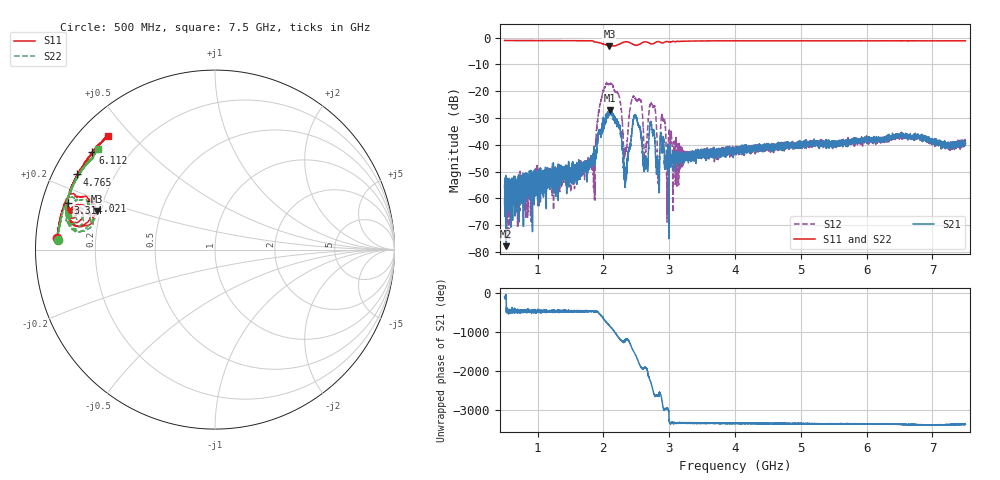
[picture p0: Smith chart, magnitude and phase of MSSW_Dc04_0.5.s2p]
!Keysight Technologies,M9374A,MY55442783,A.12.55.05
!Date: Wednesday, May 19, 2021 16:40:44
!Correction: S11(Full 2 Port(1,2))
!S21(Full 2 Port(1,2))
!S12(Full 2 Port(1,2))
!S22(Full 2 Port(1,2))
!S2P File: Measurements: S11, S21, S12, S22:
# Hz S  RI  R 50
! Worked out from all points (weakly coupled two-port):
!   7001 points, 500 MHz to 7.5 GHz, reference 50 ohm
!   highest |S21| = -27.00 dB at 2.1 GHz (marker M1); lowest = -77.8 dB at 526 MHz (marker M2)
!   lowest |S11| = -3.2 dB at 2.092 GHz (marker M3), VSWR 5.46, Z = 9.38 + j7.68 ohm
!   |S11| at or under -10 dB: nowhere
!   |S22| runs from -3.3 to -1.1 dB; largest |S21 - S12| = 0.11
!   S11 on the Smith chart (normalised r, x): 500 MHz: 0.06, +0.04; 2.021 GHz: 0.15, +0.18; 3.314 GHz: 0.08, +0.15; 4.765 GHz: 0.07, +0.25; 6.112 GHz: 0.08, +0.35; 7.5 GHz: 0.08, +0.43
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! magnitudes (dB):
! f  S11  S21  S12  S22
! 500 MHz  -1.1  -55.9  -60.3  -1.1
! 526 MHz  -1.1  -77.8  -65.0  -1.1
! 1.667 GHz  -1.1  -48.9  -46.3  -1.2
! 1.845 GHz  -1.3  -44.4  -49.5  -1.3
! 2.021 GHz  -2.6  -30.6  -18.4  -2.7
! 2.092 GHz  -3.2  -29.0  -17.4  -3.2
! 2.1 GHz  -3.2  -27.0  -17.3  -3.3
! 2.241 GHz  -2.5  -32.5  -22.0  -2.5
! 2.331 GHz  -1.6  -52.0  -41.1  -1.6
! 2.466 GHz  -2.6  -29.5  -21.9  -2.7
! 2.639 GHz  -1.6  -49.0  -44.1  -1.6
! 2.76 GHz  -2.3  -34.9  -25.9  -2.3
! 2.834 GHz  -1.5  -48.2  -53.8  -1.5
! 2.907 GHz  -1.9  -37.2  -30.4  -2.0
! 2.984 GHz  -1.5  -40.2  -41.5  -1.6
! 3.314 GHz  -1.3  -43.5  -44.1  -1.3
! 4 GHz  -1.2  -41.7  -42.6  -1.2
! 4.765 GHz  -1.2  -39.4  -39.9  -1.3
! 5.167 GHz  -1.2  -39.1  -40.0  -1.2
! 6.112 GHz  -1.2  -36.9  -38.8  -1.3
! 6.334 GHz  -1.2  -37.9  -37.6  -1.3
! 7.5 GHz  -1.2  -39.4  -39.2  -1.3
